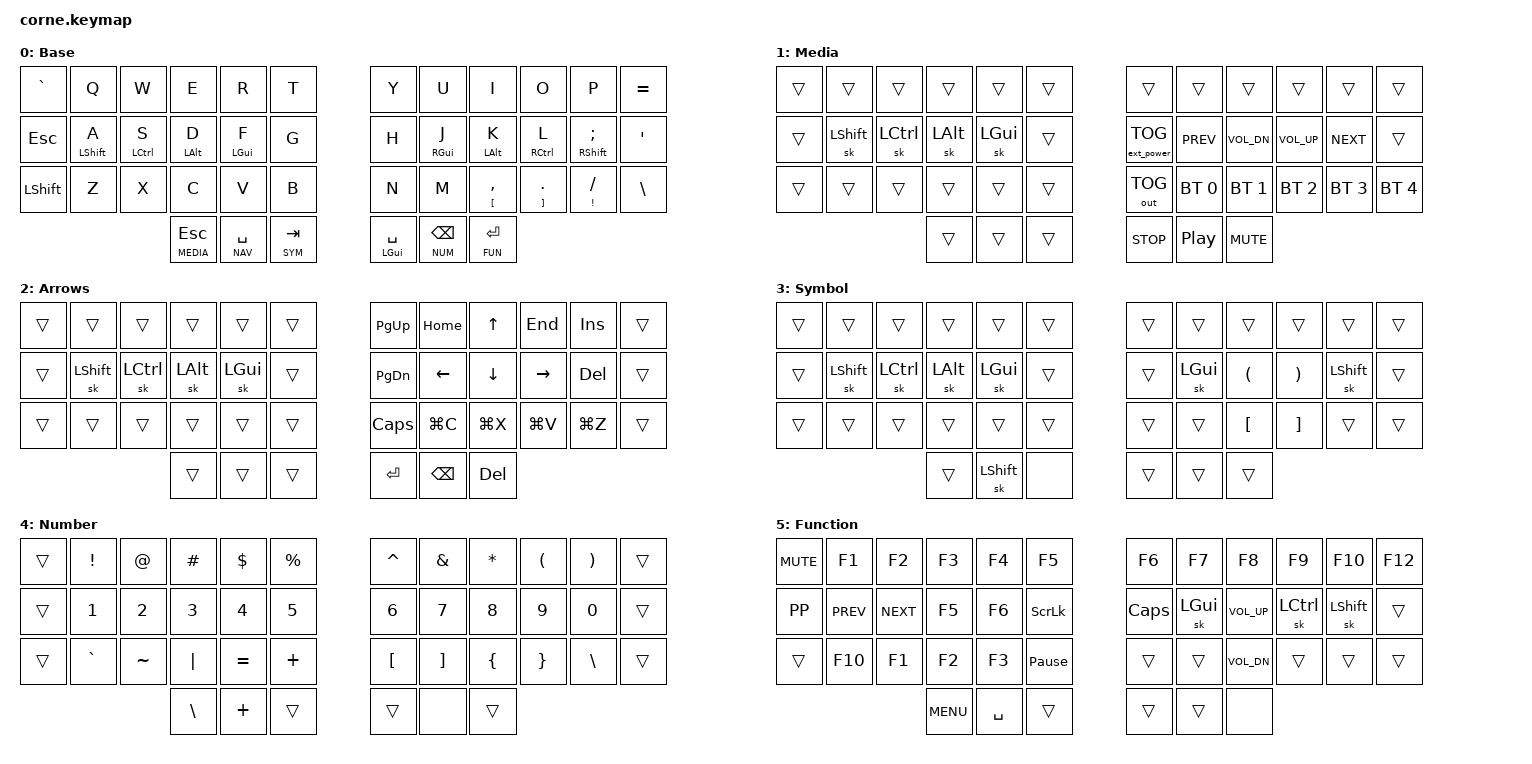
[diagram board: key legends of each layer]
/*
 * Copyright (c) 2020 The ZMK Contributors
 *
 * SPDX-License-Identifier: MIT
 */

#include <behaviors.dtsi>
#include <dt-bindings/zmk/keys.h>
#include <dt-bindings/zmk/bt.h>
#include <dt-bindings/zmk/ext_power.h>
#include <dt-bindings/zmk/outputs.h>
#include "../zmk-nodefree-config/helper.h"
#include "../zmk-nodefree-config/keypos_def/keypos_42keys.h"

// Keys
#define ___    &trans
#define KEYS_L LT0 LT1 LT2 LT3 LT4 LT5 LM0 LM1 LM2 LM3 LM4 LM5 LB0 LB1 LB2 LB3 LB4 LB5  // left-hand keys
#define KEYS_R RT0 RT1 RT2 RT3 RT4 RT5 RM0 RM1 RM2 RM3 RM4 RM5 RB0 RB1 RB2 RB3 RB4 RB5  // right-hand keys
#define THUMBS LH2 LH1 LH0 RH0 RH1 RH2                                                  // thumb keys

// Layers
#define BASE    0
#define MEDIA   1
#define NAV     2
#define SYM     3
#define NUM     4
#define FUN     5
#define MDIA    MEDIA
#define MOUS    MOUSE

// Macros
#define U_UNDO  LG(Z)
#define U_CUT   LG(X)
#define U_COPY  LG(C)
#define U_PSTE  LG(V)
#define U_REDO  LS(LG(Z))
#define U_CLIP  LC(LG(C))
#define U_SHOT  LS(LG(N4))

// Overwrite the display cs pin
&nice_view_spi {
  cs-gpios = <&pro_micro 0 GPIO_ACTIVE_HIGH>;
};

// Homerow mods
ZMK_BEHAVIOR(hm, hold_tap,
    flavor = "balanced";
    tapping-term-ms = <280>;
    quick-tap-ms = <125>;
    bindings = <&kp>, <&kp>;
)

// Tap: sticky shift | double tap: capsword
ZMK_BEHAVIOR(ss_cw, tap_dance,
    tapping-term-ms = <200>;
    bindings = <&sk LSHFT>, <&caps_word>;
)

// Tap: backspace | shift + tap: delete | hold: num layer
ZMK_BEHAVIOR(bs_del_num, mod_morph,
    bindings = <&lt NUM BSPC>, <&kp DEL>;
    mods = <(MOD_LSFT|MOD_RSFT)>;
)

&lt {
  flavor = "tap-preferred";
  tapping-term-ms = <200>;
  quick-tap-ms = <0>;
};

// Euro sign
ZMK_UNICODE_SINGLE(euro_sign, N2, N0, A, C)  // €

// Keymap

ZMK_LAYER(Base,
     // ╭─────────────┬─────────────┬─────────────┬─────────────┬─────────────┬─────────────╮   ╭─────────────┬─────────────┬─────────────┬─────────────┬─────────────┬─────────────╮
          &kp GRAVE     &kp Q         &kp W         &kp E         &kp R         &kp T             &kp Y         &kp U         &kp I         &kp O         &kp P         &kp EQUAL
     // ├─────────────┼─────────────┼─────────────┼─────────────┼─────────────┼─────────────┤   ├─────────────┼─────────────┼─────────────┼─────────────┼─────────────┼─────────────┤
          &kp ESC       &hm LSHFT A   &hm LCTRL S   &hm LALT D    &hm LGUI F    &kp G             &kp H         &hm RGUI J    &hm LALT K    &hm RCTRL L   &hm RSHFT SEMI &kp SQT
     // ├─────────────┼─────────────┼─────────────┼─────────────┼─────────────┼─────────────┤   ├─────────────┼─────────────┼─────────────┼─────────────┼─────────────┼─────────────┤
          &kp LSHFT     &kp Z         &kp X         &kp C         &kp V         &kp B             &kp N         &kp M         &mt LBKT COMMA &mt RBKT DOT &mt EXCL FSLH &kp BSLH
     // ╰─────────────┴─────────────┴─────────────┼─────────────┼─────────────┼─────────────┤   ├─────────────┼─────────────┼─────────────┴─────────────┴─────────────┴─────────────╯
                                                   &lt MEDIA ESC &lt NAV SPACE &lt SYM TAB        &mt LGUI SPACE &lt NUM BSPC &lt FUN ENTER
     //                                           ╰─────────────┴─────────────┴─────────────╯   ╰─────────────┴─────────────┴─────────────╯
)

ZMK_LAYER(Media,
     // ╭─────────────┬─────────────┬─────────────┬─────────────┬─────────────┬─────────────╮   ╭─────────────┬─────────────┬─────────────┬─────────────┬─────────────┬─────────────╮
          ___           ___           ___           ___           ___           ___               ___           ___           ___           ___           ___           ___
     // ├─────────────┼─────────────┼─────────────┼─────────────┼─────────────┼─────────────┤   ├─────────────┼─────────────┼─────────────┼─────────────┼─────────────┼─────────────┤
          ___           &sk LSHFT     &sk LCTRL     &sk LALT      &sk LGUI      ___             &ext_power EP_TOG &kp C_PREV &kp C_VOL_DN  &kp C_VOL_UP  &kp C_NEXT    ___
     // ├─────────────┼─────────────┼─────────────┼─────────────┼─────────────┼─────────────┤   ├─────────────┼─────────────┼─────────────┼─────────────┼─────────────┼─────────────┤
          ___           ___           ___           ___           ___           ___              &out OUT_TOG   &bt BT_SEL 0  &bt BT_SEL 1  &bt BT_SEL 2  &bt BT_SEL 3  &bt BT_SEL 4
     // ╰─────────────┴─────────────┴─────────────┼─────────────┼─────────────┼─────────────┤   ├─────────────┼─────────────┼─────────────┼─────────────┴─────────────┴─────────────╯
                                                    ___           ___           ___               &kp C_STOP    &kp C_PP      &kp C_MUTE
     //                                           ╰─────────────┴─────────────┴─────────────╯   ╰─────────────┴─────────────┴─────────────╯
)

ZMK_LAYER(Arrows,
     // ╭─────────────┬─────────────┬─────────────┬─────────────┬─────────────┬─────────────╮   ╭─────────────┬─────────────┬─────────────┬─────────────┬─────────────┬─────────────╮
          ___           ___           ___           ___           ___           ___               &kp PG_UP     &kp HOME      &kp UP        &kp END       &kp INS       ___
     // ├─────────────┼─────────────┼─────────────┼─────────────┼─────────────┼─────────────┤   ├─────────────┼─────────────┼─────────────┼─────────────┼─────────────┼─────────────┤
          ___           &sk LSHFT     &sk LCTRL     &sk LALT      &sk LGUI      ___               &kp PG_DN     &kp LEFT      &kp DOWN      &kp RIGHT     &kp DEL       ___
     // ├─────────────┼─────────────┼─────────────┼─────────────┼─────────────┼─────────────┤   ├─────────────┼─────────────┼─────────────┼─────────────┼─────────────┼─────────────┤
          ___           ___           ___           ___           ___           ___               &kp CAPS      &kp LG(C)     &kp LG(X)     &kp LG(V)     &kp LG(Z)     ___
     // ╰─────────────┴─────────────┴─────────────┼─────────────┼─────────────┼─────────────┤   ├─────────────┼─────────────┼─────────────┼─────────────┴─────────────┴─────────────╯
                                                    ___           ___           ___               &kp RET       &kp BKSP      &kp DEL
     //                                           ╰─────────────┴─────────────┴─────────────╯   ╰─────────────┴─────────────┴─────────────╯
)

ZMK_LAYER(Symbol,
     // ╭─────────────┬─────────────┬─────────────┬─────────────┬─────────────┬─────────────╮   ╭─────────────┬─────────────┬─────────────┬─────────────┬─────────────┬─────────────╮
          ___           ___           ___           ___           ___           ___               ___           ___           ___           ___           ___           ___
     // ├─────────────┼─────────────┼─────────────┼─────────────┼─────────────┼─────────────┤   ├─────────────┼─────────────┼─────────────┼─────────────┼─────────────┼─────────────┤
          ___           &sk LSHFT     &sk LCTRL     &sk LALT      &sk LGUI      ___               ___           &sk LGUI      &kp LPAR      &kp RPAR      &sk LSHIFT    ___
     // ├─────────────┼─────────────┼─────────────┼─────────────┼─────────────┼─────────────┤   ├─────────────┼─────────────┼─────────────┼─────────────┼─────────────┼─────────────┤
          ___           ___           ___           ___           ___           ___               ___           ___           &kp LBKT      &kp RBKT      ___           ___
     // ╰─────────────┴─────────────┴─────────────┼─────────────┼─────────────┼─────────────┤   ├─────────────┼─────────────┼─────────────┼─────────────┴─────────────┴─────────────╯
                                                    ___           &sk LSHFT     &none             ___           ___           ___
     //                                           ╰─────────────┴─────────────┴─────────────╯   ╰─────────────┴─────────────┴─────────────╯
)

ZMK_LAYER(Number,
     // ╭─────────────┬─────────────┬─────────────┬─────────────┬─────────────┬─────────────╮   ╭─────────────┬─────────────┬─────────────┬─────────────┬─────────────┬─────────────╮
          ___           &kp EXCL      &kp AT        &kp HASH      &kp DLLR      &kp PRCNT         &kp CARET     &kp AMPS      &kp ASTERISK  &kp LPAR      &kp RPAR      ___
     // ├─────────────┼─────────────┼─────────────┼─────────────┼─────────────┼─────────────┤   ├─────────────┼─────────────┼─────────────┼─────────────┼─────────────┼─────────────┤
          ___           &kp N1        &kp N2        &kp N3        &kp N4        &kp N5            &kp N6        &kp N7        &kp N8        &kp N9        &kp N0        ___
     // ├─────────────┼─────────────┼─────────────┼─────────────┼─────────────┼─────────────┤   ├─────────────┼─────────────┼─────────────┼─────────────┼─────────────┼─────────────┤
          ___           &kp GRAVE     &kp TILDE     &kp PIPE      &kp EQUAL     &kp PLUS          &kp LBKT      &kp RBKT      &kp LBRC      &kp RBRC      &kp BSLH      ___
     // ╰─────────────┴─────────────┴─────────────┼─────────────┼─────────────┼─────────────┤   ├─────────────┼─────────────┼─────────────┼─────────────┴─────────────┴─────────────╯
                                                    &kp BSLH      &kp PLUS      ___               ___           &none         ___
     //                                           ╰─────────────┴─────────────┴─────────────╯   ╰─────────────┴─────────────┴─────────────╯
)

ZMK_LAYER(Function,
     // ╭─────────────┬─────────────┬─────────────┬─────────────┬─────────────┬─────────────╮   ╭─────────────┬─────────────┬─────────────┬─────────────┬─────────────┬─────────────╮
          &kp K_MUTE    &kp F1        &kp F2        &kp F3        &kp F4        &kp F5            &kp F6        &kp F7        &kp F8        &kp F9        &kp F10       &kp F12
     // ├─────────────┼─────────────┼─────────────┼─────────────┼─────────────┼─────────────┤   ├─────────────┼─────────────┼─────────────┼─────────────┼─────────────┼─────────────┤
          &kp K_PP      &kp K_PREV    &kp K_NEXT    &kp F5        &kp F6        &kp SCROLLLOCK    &kp CAPSLOCK  &sk LGUI      &kp C_VOL_UP  &sk LCTRL     &sk LSHIFT    ___
     // ├─────────────┼─────────────┼─────────────┼─────────────┼─────────────┼─────────────┤   ├─────────────┼─────────────┼─────────────┼─────────────┼─────────────┼─────────────┤
          ___           &kp F10       &kp F1        &kp F2        &kp F3        &kp PAUSE_BREAK   ___           ___           &kp C_VOL_DN  ___           ___           ___
     // ╰─────────────┴─────────────┴─────────────┼─────────────┼─────────────┼─────────────┤   ├─────────────┼─────────────┼─────────────┼─────────────┴─────────────┴─────────────╯
                                                    &kp C_MENU    &kp SPACE     ___               ___           ___           &none
     //                                           ╰─────────────┴─────────────┴─────────────╯   ╰─────────────┴─────────────┴─────────────╯
)
